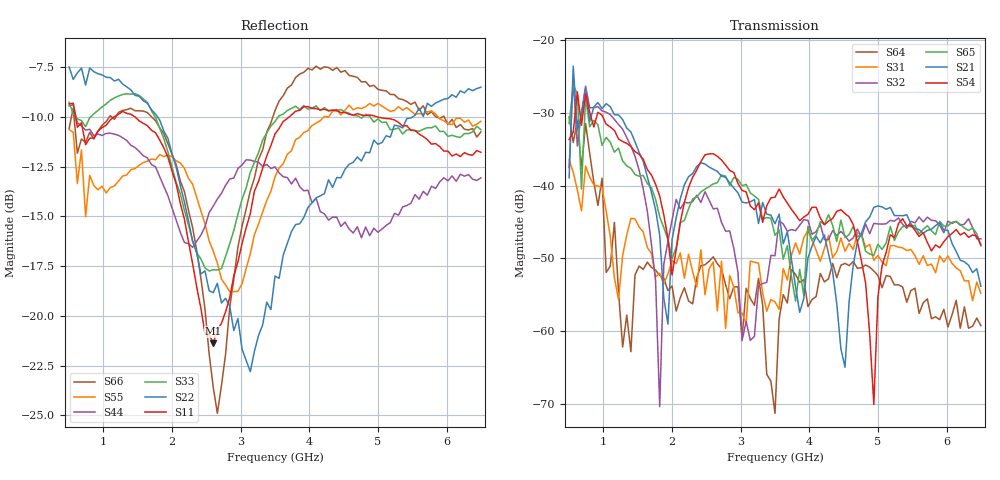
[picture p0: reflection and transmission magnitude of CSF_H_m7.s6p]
!Keysight Technologies,M9804A,MY58100912,A.14.10.03
!Date: Thursday, April 27, 2023 10:28:33
!Correction: S11(C  6-Port  )
!S12(C  6-Port  )
!S13(C  6-Port  )
!S14(C  6-Port  )
!S15(C  6-Port  )
!S16(C  6-Port  )
!S21(C  6-Port  )
!S22(C  6-Port  )
!S23(C  6-Port  )
!S24(C  6-Port  )
!S25(C  6-Port  )
!S26(C  6-Port  )
!S31(C  6-Port  )
!S32(C  6-Port  )
!S33(C  6-Port  )
!S34(C  6-Port  )
!S35(C  6-Port  )
!S36(C  6-Port  )
!S41(C  6-Port  )
!S42(C  6-Port  )
!S43(C  6-Port  )
!S44(C  6-Port  )
!S45(C  6-Port  )
!S46(C  6-Port  )
!S51(C  6-Port  )
!S52(C  6-Port  )
!S53(C  6-Port  )
!S54(C  6-Port  )
!S55(C  6-Port  )
!S56(C  6-Port  )
!S61(C  6-Port  )
!S62(C  6-Port  )
!S63(C  6-Port  )
!S64(C  6-Port  )
!S65(C  6-Port  )
!S66(C  6-Port  )
!S6P File: Measurement: :
# Hz S  RI  R 50
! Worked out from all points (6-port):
!   101 points, 500 MHz to 6.5 GHz, reference 50 ohm
!   strongest paths, dB at 500 MHz, 2 GHz, 3.5 GHz, 5 GHz, 6.5 GHz:
!     S54: -33.7, -52.3, -41.6, -55.3, -48.1
!     S21: -38.9, -47.4, -45.3, -42.8, -53.9
!     S65: -31.5, -50.1, -46.8, -48.1, -48.3
!     S32: -37.5, -44.7, -49.7, -45.3, -47.3
!     S31: -36.5, -50.3, -56.0, -49.6, -54.8
!     S64: -30.6, -53.8, -71.3, -52.4, -59.3
!   lowest |S11| = -21.4 dB at 2.6 GHz (marker M1), VSWR 1.19, Z = 42.4 + j2.25 ohm
!   |S11| at or under -10 dB: 594.5 MHz to 1.154 GHz (559.9 MHz wide, 64 % of centre); 1.46 GHz to 3.707 GHz (2.246 GHz wide, 86.9 % of centre); 4.99 GHz to end of sweep
